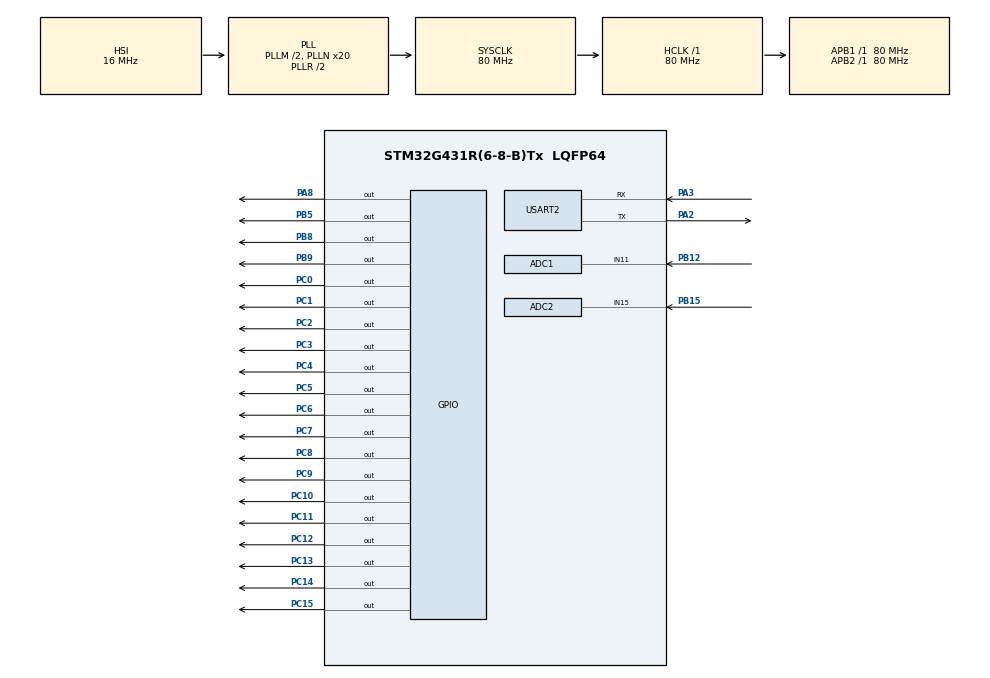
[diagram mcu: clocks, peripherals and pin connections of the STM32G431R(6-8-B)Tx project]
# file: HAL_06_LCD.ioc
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ADC1.Channel-0\#ChannelRegularConversion=ADC_CHANNEL_11
ADC1.NbrOfConversionFlag=1
ADC1.OffsetNumber-0\#ChannelRegularConversion=ADC_OFFSET_NONE
ADC1.Rank-0\#ChannelRegularConversion=1
ADC1.SamplingTime-0\#ChannelRegularConversion=ADC_SAMPLETIME_2CYCLES_5
ADC1.master=1
ADC2.Channel-0\#ChannelRegularConversion=ADC_CHANNEL_15
ADC2.NbrOfConversionFlag=1
ADC2.OffsetNumber-0\#ChannelRegularConversion=ADC_OFFSET_NONE
ADC2.Rank-0\#ChannelRegularConversion=1
ADC2.SamplingTime-0\#ChannelRegularConversion=ADC_SAMPLETIME_2CYCLES_5
Mcu.Family=STM32G4
Mcu.Name=STM32G431R(6-8-B)Tx
Mcu.Package=LQFP64
NVIC.PriorityGroup=NVIC_PRIORITYGROUP_4
NVIC.USART2_IRQn=true\:0\:0\:false\:false\:true\:true\:true\:true
PA2.Mode=Asynchronous
PA2.Signal=USART2_TX
PA3.Mode=Asynchronous
PA3.Signal=USART2_RX
PA8.Signal=GPIO_Output
PB12.Mode=IN11-Single-Ended
PB12.Signal=ADC1_IN11
PB15.Mode=IN15-Single-Ended
PB15.Signal=ADC2_IN15
PB5.Signal=GPIO_Output
PB8-BOOT0.Signal=GPIO_Output
PB9.Signal=GPIO_Output
PC0.Signal=GPIO_Output
PC1.Signal=GPIO_Output
PC10.Signal=GPIO_Output
PC11.Signal=GPIO_Output
PC12.Signal=GPIO_Output
PC13.Signal=GPIO_Output
PC14-OSC32_IN.Signal=GPIO_Output
PC15-OSC32_OUT.Signal=GPIO_Output
PC2.Signal=GPIO_Output
PC3.Signal=GPIO_Output
PC4.Signal=GPIO_Output
PC5.Signal=GPIO_Output
PC6.Signal=GPIO_Output
PC7.Signal=GPIO_Output
PC8.Signal=GPIO_Output
PC9.Signal=GPIO_Output
PF0-OSC_IN.Mode=HSE-External-Oscillator
PF0-OSC_IN.Signal=RCC_OSC_IN
PF1-OSC_OUT.Mode=HSE-External-Oscillator
PF1-OSC_OUT.Signal=RCC_OSC_OUT
ProjectManager.HeapSize=0x200
ProjectManager.StackSize=0x400
ProjectManager.TargetToolchain=MDK-ARM V5
RCC.ADC12Freq_Value=80000000
RCC.AHBFreq_Value=80000000
RCC.APB1Freq_Value=80000000
RCC.APB1TimFreq_Value=80000000
RCC.APB2Freq_Value=80000000
RCC.APB2TimFreq_Value=80000000
RCC.CortexFreq_Value=80000000
RCC.EXTERNAL_CLOCK_VALUE=12288000
RCC.HCLKFreq_Value=80000000
RCC.HSE_VALUE=24000000
RCC.HSI48_VALUE=48000000
RCC.HSI_VALUE=16000000
RCC.LSE_VALUE=32768
RCC.PLLM=RCC_PLLM_DIV2
RCC.PLLN=20
RCC.SYSCLKFreq_VALUE=80000000
RCC.SYSCLKSource=RCC_SYSCLKSOURCE_PLLCLK
RCC.USBFreq_Value=80000000
RCC.VCOOutputFreq_Value=160000000
USART2.VirtualMode-Asynchronous=VM_ASYNC
VP_SYS_VS_DBSignals.Mode=DisableDeadBatterySignals
board=custom

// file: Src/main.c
/* USER CODE BEGIN Header */
/**
  ******************************************************************************
  * @file           : main.c
  * @brief          : Main program body
  ******************************************************************************
  * @attention
  *
  * <h2><center>&copy; Copyright (c) 2021 STMicroelectronics.
  * All rights reserved.</center></h2>
  *
  * This software component is licensed by ST under BSD 3-Clause license,
  * the "License"; You may not use this file except in compliance with the
  * License. You may obtain a copy of the License at:
  *                        opensource.org/licenses/BSD-3-Clause
  *
  ******************************************************************************
  */
/* USER CODE END Header */

#include "main.h"
#include "adc.h"
#include "usart.h"
#include "gpio.h"

/* USER CODE BEGIN Includes */
#include "stdio.h"
#include "string.h"
/* USER CODE END Includes */

/* USER CODE BEGIN PV */
u8 rx_buf[2];
u8 uart_buf[20];
char buffer[20];
u8 uart_cnt=0;
__IO uint32_t rxidle_tick=0;
//Wifi初始化为透传模式
void Wifi_Init(void)
{
	printf("AT+CIPSTART=\"TCP\",\"192.168.3.122\",8080\r\n");
	HAL_Delay(50);
	printf("AT+CIPMODE=1\r\n");
	HAL_Delay(50);
	printf("AT+CIPSEND\r\n");
}
//uart接收加尾数据检测
void HAL_UART_RxCpltCallback(UART_HandleTypeDef *huart)
{
	uart_buf[uart_cnt++]=rx_buf[0];
	if(uart_buf[uart_cnt-1]=='a')
	{
		uart_cnt=0;
		HAL_UART_Transmit(&huart2,(uint8_t*)uart_buf,sizeof(uart_buf)-1,50);
		sprintf(buffer,"%20s",uart_buf);
		LCD_DisplayStringLine(Line8, (uint8_t *)buffer);
	}
	rxidle_tick=uwTick;
	HAL_UART_Receive_IT(&huart2,rx_buf,1);//重新开启串口中断，清除标志位与rx_buf,保证下一次的中断正常进行
}
//rx接收数据时间连续性判断
void rxidle_process(void)
{
	if(uwTick-rxidle_tick<50)
		return;
	uart_cnt=0;
	memset(uart_buf,'\0',sizeof(uart_buf));
}
//
void lcd_process(void)
{
	LCD_DisplayStringLine(Line0, (uint8_t *)"                    ");
	LCD_DisplayStringLine(Line1, (uint8_t *)"                    ");
	LCD_DisplayStringLine(Line2, (uint8_t *)"      LCD Test      ");
	LCD_DisplayStringLine(Line3, (uint8_t *)"                    ");
	LCD_DisplayStringLine(Line4, (uint8_t *)"                    ");
	LCD_DisplayStringLine(Line5, (uint8_t *)"                    ");
	LCD_DisplayStringLine(Line6, (uint8_t *)"       HAL LIB      ");
	LCD_DisplayStringLine(Line7, (uint8_t *)"                    ");

	LCD_DisplayStringLine(Line9, (uint8_t *)"                    ");
}
/* USER CODE END PV */

void SystemClock_Config(void);

int main(void)
{

  /* MCU Configuration--------------------------------------------------------*/

  /* Reset of all peripherals, Initializes the Flash interface and the Systick. */
  HAL_Init();

  /* Configure the system clock */
  SystemClock_Config();

  /* Initialize all configured peripherals */
  MX_GPIO_Init();
  MX_ADC1_Init();
  MX_ADC2_Init();
  MX_USART2_UART_Init();

  /* USER CODE BEGIN 2 */

	LCD_Init();
	Wifi_Init();
	//使能串口接收中断
	HAL_UART_Receive_IT(&huart2,rx_buf,1);
  /* USER CODE END 2 */

  /* Infinite loop */
  /* USER CODE BEGIN WHILE */

	LCD_SetBackColor(Black);
	LCD_SetTextColor(White);

	LCD_DisplayStringLine(Line0, (uint8_t *)"                    ");
	LCD_DisplayStringLine(Line1, (uint8_t *)"                    ");
	LCD_DisplayStringLine(Line2, (uint8_t *)"      LCD Test      ");
	LCD_DisplayStringLine(Line3, (uint8_t *)"                    ");
	LCD_DisplayStringLine(Line4, (uint8_t *)"                    ");
	LCD_DisplayStringLine(Line5, (uint8_t *)"                    ");
	LCD_DisplayStringLine(Line6, (uint8_t *)"       HAL LIB      ");
	LCD_DisplayStringLine(Line7, (uint8_t *)"                    ");
	LCD_DisplayStringLine(Line8, (uint8_t *)"         @80        ");
	LCD_DisplayStringLine(Line9, (uint8_t *)"                    ");

  while (1)
  {
    /* USER CODE END WHILE */
		rxidle_process();
		lcd_process();
  }
}

void SystemClock_Config(void)
{
  RCC_OscInitTypeDef RCC_OscInitStruct = {0};
  RCC_ClkInitTypeDef RCC_ClkInitStruct = {0};
  RCC_PeriphCLKInitTypeDef PeriphClkInit = {0};

  /** Configure the main internal regulator output voltage
  */
  HAL_PWREx_ControlVoltageScaling(PWR_REGULATOR_VOLTAGE_SCALE1);
  /** Initializes the CPU, AHB and APB busses clocks
  */
  RCC_OscInitStruct.OscillatorType = RCC_OSCILLATORTYPE_HSI;
  RCC_OscInitStruct.HSIState = RCC_HSI_ON;
  RCC_OscInitStruct.HSICalibrationValue = RCC_HSICALIBRATION_DEFAULT;
  RCC_OscInitStruct.PLL.PLLState = RCC_PLL_ON;
  RCC_OscInitStruct.PLL.PLLSource = RCC_PLLSOURCE_HSI;
  RCC_OscInitStruct.PLL.PLLM = RCC_PLLM_DIV2;
  RCC_OscInitStruct.PLL.PLLN = 20;
  RCC_OscInitStruct.PLL.PLLP = RCC_PLLP_DIV2;
  RCC_OscInitStruct.PLL.PLLQ = RCC_PLLQ_DIV2;
  RCC_OscInitStruct.PLL.PLLR = RCC_PLLR_DIV2;
  if (HAL_RCC_OscConfig(&RCC_OscInitStruct) != HAL_OK)
  {
    Error_Handler();
  }
  /** Initializes the CPU, AHB and APB busses clocks
  */
  RCC_ClkInitStruct.ClockType = RCC_CLOCKTYPE_HCLK|RCC_CLOCKTYPE_SYSCLK
                              |RCC_CLOCKTYPE_PCLK1|RCC_CLOCKTYPE_PCLK2;
  RCC_ClkInitStruct.SYSCLKSource = RCC_SYSCLKSOURCE_PLLCLK;
  RCC_ClkInitStruct.AHBCLKDivider = RCC_SYSCLK_DIV1;
  RCC_ClkInitStruct.APB1CLKDivider = RCC_HCLK_DIV1;
  RCC_ClkInitStruct.APB2CLKDivider = RCC_HCLK_DIV1;

  if (HAL_RCC_ClockConfig(&RCC_ClkInitStruct, FLASH_LATENCY_3) != HAL_OK)
  {
    Error_Handler();
  }
  /** Initializes the peripherals clocks
  */
  PeriphClkInit.PeriphClockSelection = RCC_PERIPHCLK_USART2|RCC_PERIPHCLK_ADC12;
  PeriphClkInit.Usart2ClockSelection = RCC_USART2CLKSOURCE_PCLK1;
  PeriphClkInit.Adc12ClockSelection = RCC_ADC12CLKSOURCE_SYSCLK;
  if (HAL_RCCEx_PeriphCLKConfig(&PeriphClkInit) != HAL_OK)
  {
    Error_Handler();
  }
}

void Error_Handler(void)
{
}

/************************ (C) COPYRIGHT STMicroelectronics *****END OF FILE****/
